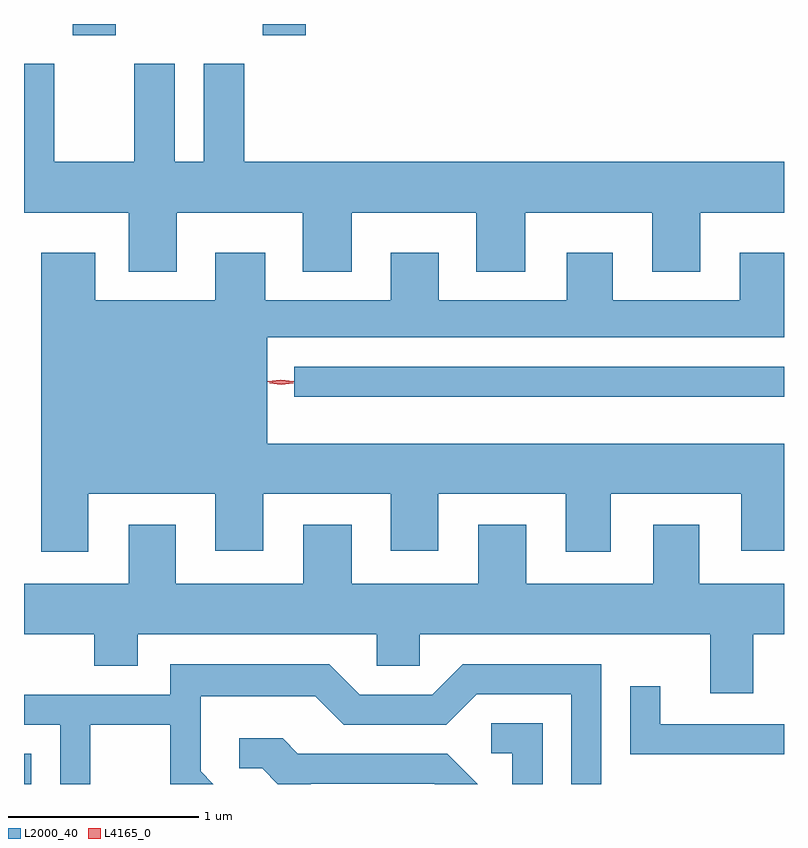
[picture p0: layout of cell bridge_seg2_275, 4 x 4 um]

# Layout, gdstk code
import gdstk
lib = gdstk.Library(unit=1e-6, precision=1e-09)
def R(c, l, rs):  # rectangles x0, y0, x1, y1
    for r in rs: c.add(gdstk.rectangle(r[:2], r[2:], *l))
def P(c, l, *ps):  # polygons
    for p in ps: c.add(gdstk.Polygon(p, *l))
L2000_40 = (2000, 40)
L4165_0 = (4165, 0)

bridge_seg2_275 = lib.new_cell('bridge_seg2_275')
R(bridge_seg2_275, L2000_40, [(618.77,1051.969,618.809,1052.129), (620.193,1054.006,622.77,1054.164), (619.026,1055.911,619.254,1055.969), (620.026,1055.911,620.254,1055.969)])
P(bridge_seg2_275, L2000_40, [(619.574,1054.976),(620.236,1054.976),(620.236,1054.666),(620.494,1054.666),(620.494,1054.976),(621.151,1054.976),(621.151,1054.666),(621.409,1054.666),(621.409,1054.976),(622.076,1054.976),(622.076,1054.666),(622.329,1054.666),(622.329,1054.976),(622.77,1054.976),(622.77,1055.244),(619.929,1055.244),(619.929,1055.759),(619.716,1055.759),(619.716,1055.244),(619.564,1055.244),(619.564,1055.759),(619.351,1055.759),(619.351,1055.244),(618.929,1055.244),(618.929,1055.759),(618.77,1055.759),(618.77,1054.976),(619.321,1054.976),(619.321,1054.666),(619.574,1054.666)],
  [(619.109,1053.496),(619.776,1053.496),(619.776,1053.196),(620.029,1053.196),(620.029,1053.496),(620.701,1053.496),(620.701,1053.196),(620.949,1053.196),(620.949,1053.496),(621.621,1053.496),(621.621,1053.191),(621.859,1053.191),(621.859,1053.496),(622.546,1053.496),(622.546,1053.196),(622.77,1053.196),(622.77,1053.759),(620.049,1053.759),(620.049,1054.321),(622.77,1054.321),(622.77,1054.764),(622.536,1054.764),(622.536,1054.514),(621.869,1054.514),(621.869,1054.764),(621.626,1054.764),(621.626,1054.514),(620.954,1054.514),(620.954,1054.764),(620.701,1054.764),(620.701,1054.514),(620.039,1054.514),(620.039,1054.764),(619.776,1054.764),(619.776,1054.514),(619.144,1054.514),(619.144,1054.764),(618.861,1054.764),(618.861,1053.191),(619.109,1053.191)],
  [(618.77,1052.756),(619.141,1052.756),(619.141,1052.591),(619.369,1052.591),(619.369,1052.756),(620.626,1052.756),(620.626,1052.591),(620.854,1052.591),(620.854,1052.756),(622.381,1052.756),(622.381,1052.446),(622.609,1052.446),(622.609,1052.756),(622.77,1052.756),(622.77,1053.024),(622.324,1053.024),(622.324,1053.334),(622.081,1053.334),(622.081,1053.024),(621.414,1053.024),(621.414,1053.334),(621.161,1053.334),(621.161,1053.024),(620.494,1053.024),(620.494,1053.334),(620.241,1053.334),(620.241,1053.024),(619.569,1053.024),(619.569,1053.334),(619.321,1053.334),(619.321,1053.024),(618.77,1053.024)],
  [(619.119,1052.281),(619.541,1052.281),(619.541,1051.969),(619.767,1051.969),(619.699,1052.037),(619.699,1052.431),(620.304,1052.431),(620.454,1052.281),(620.992,1052.281),(621.152,1052.441),(621.651,1052.441),(621.651,1051.969),(621.809,1051.969),(621.809,1052.599),(621.079,1052.599),(620.919,1052.439),(620.537,1052.439),(620.377,1052.599),(619.541,1052.599),(619.541,1052.439),(618.77,1052.439),(618.77,1052.281),(618.961,1052.281),(618.961,1051.969),(619.119,1051.969)],
  [(622.77,1052.284),(622.119,1052.284),(622.119,1052.483),(621.961,1052.483),(621.961,1052.126),(622.77,1052.126)],
  [(621.499,1052.289),(621.228,1052.289),(621.228,1052.131),(621.341,1052.131),(621.341,1051.969),(621.499,1051.969)],
  [(620.279,1051.971),(620.929,1051.971),(620.931,1051.969),(621.157,1051.969),(620.997,1052.129),(620.212,1052.129),(620.132,1052.209),(619.903,1052.209),(619.903,1052.051),(620.024,1052.051),(620.106,1051.969),(620.279,1051.969)])
P(bridge_seg2_275, L4165_0, [(620.121,1054.078),(620.053,1054.087),(620.052,1054.088),(620.053,1054.088),(620.121,1054.097),(620.19,1054.088),(620.19,1054.087),(620.19,1054.087)],
  [(620.125,1054.07),(620.063,1054.079),(620.062,1054.08),(620.063,1054.08),(620.125,1054.09),(620.186,1054.08),(620.187,1054.08),(620.186,1054.079)])

lib.write_gds('bridge_seg2_275.gds')
